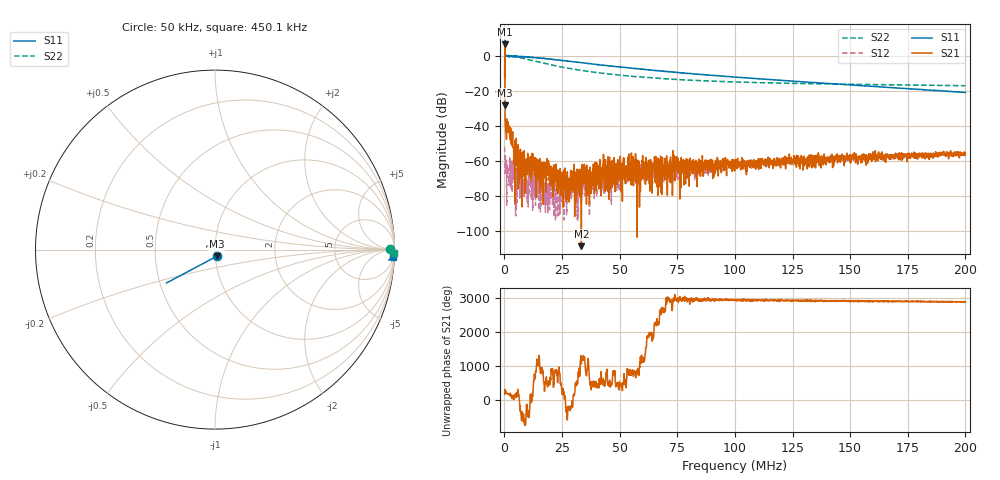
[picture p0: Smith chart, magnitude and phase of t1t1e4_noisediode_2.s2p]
! 27-Aug-26 2:34:06 PM
! E:\20260827_VNA\T1T1E4_NOISEDIODE_2.S2P
! CHANNEL.1
! TR.MEASUREMENT
! CORRECTED.DATA
# GHZ S RI R 50.0
! FREQ.GHZ  S11RE  S11IM  S21RE  S21IM  S12RE  S12IM  S22RE  S22IM
!; PortSelection: Port_12
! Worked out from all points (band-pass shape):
!   2000 points, 50 kHz to 200 MHz, reference 50 ohm
!   highest |S21| = 6.58 dB at 150 kHz (marker M1); lowest = -108.8 dB at 33.36 MHz (marker M2)
!   |S21| within 3 dB of the highest: 133.7 kHz to 157.7 kHz (23.99 kHz wide, 16.5 % of centre)
!   lowest |S11| = -28.2 dB at 50 kHz (marker M3), VSWR 1.08, Z = 50.7 - j3.83 ohm
!   |S11| at or under -10 dB: start of sweep to 148.4 kHz; 80.33642 MHz to 80.64712 MHz (310.7 kHz wide, 0.386 % of centre); 80.68 MHz to end of sweep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
!   |S22| runs from -17.0 to 0.1 dB; largest |S21 - S12| = 2.1
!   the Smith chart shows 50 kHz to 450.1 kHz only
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5e-05  0.00879 -0.0377  -0.2551 0.0299  7.12e-05 -0.00257  0.9753 0.00156
0.000150025  -0.2698 -0.1856  -2.1 0.3806  -0.00059 -0.000731  0.9983 -0.000354
0.0012503  0.9669 0.00931  -0.00741 -0.00228  0.00032 -0.000682  0.9968 -0.1009
0.00145035  0.9618 -0.04  -0.0132 -0.000994  0.000584 0.000269  0.9887 -0.1077
0.006551626  0.9177 -0.2323  0.000168 -0.00153  0.000611 -8.6e-06  0.8122 -0.3906
0.01235308  0.8299 -0.3736  -0.000652 -0.000793  0.000462 4.3e-05  0.5507 -0.4915
0.01585395  0.7471 -0.4445  7.23e-05 0.000169  -0.000126 0.000217  0.4303 -0.4854
0.01835458  0.6882 -0.4774  -0.00076 0.000245  0.000202 3.35e-05  0.3634 -0.4694
0.02755688  0.4877 -0.5153  -0.00011 -3.7e-06  -0.000185 9.65e-05  0.2115 -0.3938
0.02935733  0.4554 -0.5158  0.000187 -3.84e-05  -0.000166 8.87e-05  0.1942 -0.3796
0.03335833  0.3861 -0.5112  3.6e-06 -6e-07  -6.06e-05 2.04e-05  0.1625 -0.3522
0.03345835  0.3855 -0.5109  -0.000362 0.000166  -0.000125 0.000162  0.161 -0.3515
0.03595898  0.3539 -0.5061  -0.000211 -0.000129  -0.00027 0.00018  0.1458 -0.3357
0.04556138  0.2455 -0.4635  -0.000761 0.00104  -0.000113 0.000334  0.104 -0.2861
0.04766191  0.2215 -0.4546  0.000401 0.00046  -0.000138 0.000113  0.0973 -0.2779
0.04966241  0.2049 -0.4452  0.00016 -0.000237  -0.000118 0.000443  0.0922 -0.2707
0.06426606  0.1129 -0.3748  0.000102 0.000669  1.43e-05 0.000226  0.0621 -0.229
0.06676668  0.1016 -0.3634  -9.9e-06 0.000737  0.00016 0.000595  0.0584 -0.2223
0.100075  0.0218 -0.25  0.000496 0.000644  0.000296 0.000668  0.0226 -0.1794
0.1333833  -0.00213 -0.1758  0.000862 0.000926  0.000868 0.000808  -0.00398 -0.1614
0.1666917  -0.00598 -0.1265  0.00111 0.000749  0.00111 0.00072  -0.0295 -0.1473
0.2  0.000448 -0.0905  0.00144 0.000427  0.00169 0.000379  -0.0554 -0.1304
